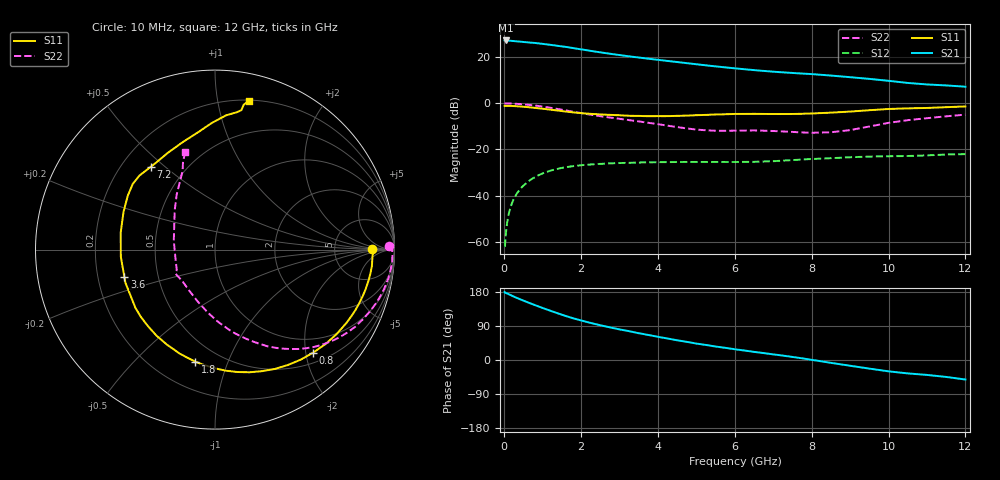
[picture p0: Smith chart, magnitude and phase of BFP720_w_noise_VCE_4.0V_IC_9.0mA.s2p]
! Infineon Technologies  Discrete & RF Semiconductors
! BFP720
! VCE =  4.0 V,  IC =  9.0 mA
! Common Emitter S-Parameters:  Aug 2012
# GHz  S  MA  R  50
!  f  S11  S21  S12  S22
! GHz  MAG  ANG  MAG  ANG  MAG  ANG  MAG  ANG
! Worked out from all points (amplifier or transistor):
!   105 points, 10 MHz to 12 GHz, reference 50 ohm
!   highest |S21| = 27.2 dB at 50 MHz (marker M1)
!   |S21| within 3 dB of that: start of sweep to 1.681 GHz
!   unconditionally stable (mu >= 1): start of sweep to 12.5 MHz; 5.634 GHz to 11.21 GHz
!   at 300 MHz: K = 0.13, MSG = 33.4 dB, |S12| = -39.9 dB
!   at 3.6 GHz: K = 0.67, MSG = 22.6 dB, |S12| = -25.7 dB
!   at 12 GHz: K = 0.78, MSG = 14.6 dB, |S12| = -22.1 dB
!   lowest NFmin = 0.50 dB at 450 MHz
!   S11 on the Smith chart (normalised r, x): 10 MHz: 15, +1; 800 MHz: 0.69, -2.15; 1.8 GHz: 0.37, -0.77; 3.6 GHz: 0.32, -0.13; 7.2 GHz: 0.32, +0.45; 12 GHz: 0.20, +1.23
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0.01  0.8738 0.3  22.91 179.3  0.0008 -24.7  0.9703 1.3
0.02  0.881 -1.0  22.78 177.8  0.0008 62.6  0.9881 -0.5
0.05  0.8781 -2.7  22.93 176.6  0.0017 75.1  0.9886 -1.7
0.25  0.8678 -14.6  22.27 167.3  0.0085 78.6  0.979 -9.4
0.4  0.8518 -23.3  21.68 160.8  0.0133 74.6  0.9602 -14.9
0.8  0.7928 -46.4  20.24 144.8  0.0251 63.2  0.8918 -28.8
1.1  0.7442 -63.3  18.89 133.6  0.0324 54.8  0.8228 -38.5
1.3  0.7097 -74.4  17.98 126.4  0.0364 49.6  0.7739 -44.5
1.6  0.66 -90.5  16.64 116.1  0.0411 42.7  0.6996 -52.4
1.8  0.6337 -100.0  15.65 109.9  0.0434 38.6  0.6529 -57.3
2.1  0.6011 -112.7  14.27 101.7  0.0461 33.4  0.5917 -63.5
2.4  0.5798 -124.2  13.04 94.1  0.048 29.1  0.54 -69.2
2.8  0.5581 -137.6  11.66 85.0  0.0499 24.4  0.4841 -76.0
3.6  0.5277 -163.0  9.557 68.9  0.0521 17.4  0.3927 -89.1
4.1  0.5251 -178.7  8.531 59.4  0.0529 14.1  0.3416 -98.8
5  0.5513 157.6  6.996 43.3  0.0534 9.5  0.2693 -122.4
6.1  0.5863 140.3  5.604 27.0  0.0534 7.2  0.255 -145.2
7.2  0.584 127.7  4.702 12.3  0.0568 7.9  0.2459 -151.0
8.5  0.6253 106.7  3.98 -7.5  0.0645 4.0  0.235 167.6
9.5  0.7061 91.4  3.372 -22.7  0.07 -1.0  0.3133 135.8
10.5  0.7746 81.0  2.754 -35.4  0.0719 -5.8  0.4301 116.8
12  0.8516 77.2  2.284 -51.5  0.0789 -13.3  0.5666 107.1
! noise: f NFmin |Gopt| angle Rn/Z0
0.45  0.5  0.31  1  0.2
1.8  0.56  0.29  20  0.12
2.4  0.62  0.24  42  0.27
5.5  0.76  0.12  33  0.15
10  0.95  0.4  -81  0.22
